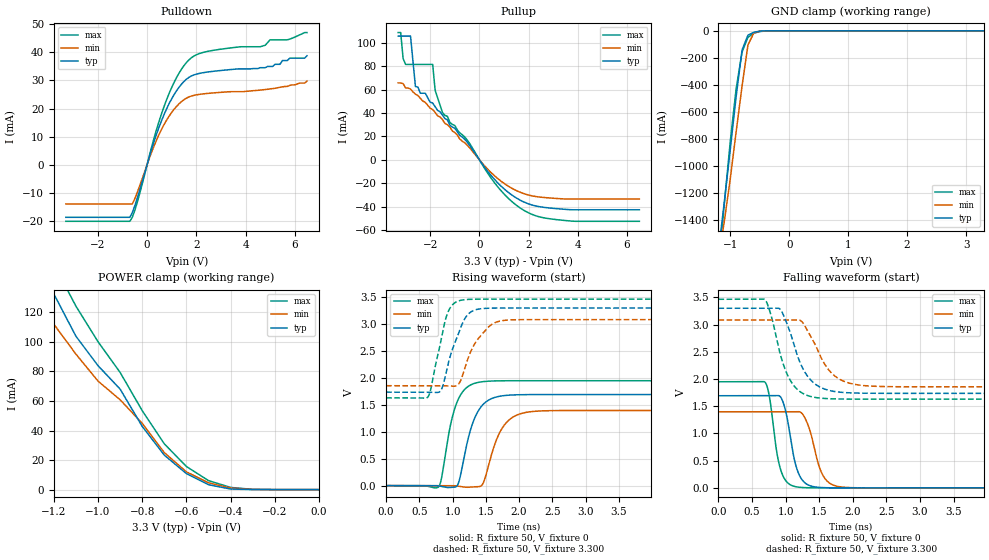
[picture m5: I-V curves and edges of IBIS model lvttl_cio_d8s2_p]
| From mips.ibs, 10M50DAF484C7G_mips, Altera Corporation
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|MODEL lvttl_cio_d8s2_p
[Model]   lvttl_cio_d8s2_p
Model_type   I/O
Polarity   Non-Inverting
Enable Active-Low
Vinl   = 0.800
Vinh   = 1.700
Vmeas  = 1.650
Rref   = 10M
Cref   = 0pF
Vref   = 0.000
C_comp 4.5pF   4.5pF   4.5pF
[Model Spec]
Vinh   1.700   1.700   1.700
Vinl   0.800   0.800   0.800
[Temperature Range]   25   85   0
[Voltage Range]   3.300   3.085   3.465
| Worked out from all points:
|   slope of the pulldown table from 0 to 0.495 V, typ, clamps not added: 36.4 ohm
|   slope of the pullup table from 0 to 0.495 V, typ, clamps not added: 35.8 ohm
|   GND clamp passes 1 mA (typ) near -0.44 V on its own axis
|   POWER clamp passes 1 mA (typ) near -0.42 V on its own axis
|   rising waveform, R_fixture 50, V_fixture 0: 20-80 % time 227ps typ, 253ps min, 202ps max; typ from 0 V to 1.69 V
|   falling waveform, R_fixture 50, V_fixture 0: 20-80 % time 159ps typ, 190ps min, 139ps max; typ from 1.69 V to 0 V
|   rising waveform, R_fixture 50, V_fixture 3.300: 20-80 % time 245ps typ, 296ps min, 191ps max; typ from 1.74 V to 3.3 V
|   falling waveform, R_fixture 50, V_fixture 3.300: 20-80 % time 299ps typ, 342ps min, 260ps max; typ from 3.3 V to 1.74 V
[GND Clamp]
| voltage   I (typ)   I (min)   I (max)
-3.3V     -8.634A    -7.734A    -10.13A
-1.2V     -1.626A    -1.688A    -1.732A
-1.1V     -1.26A     -1.403A    -1.274A
-1V       -875.9mA   -1.092A    -816.4mA
-900mV    -483.9mA   -744.2mA   -425.4mA
-800mV    -141.1mA   -407.2mA   -157.1mA
-700mV    -32.06mA   -104.2mA   -47.74mA
-600mV    -10.6mA    -15.57mA   -17.79mA
-500mV    -2.181mA   -3.118mA   -5.472mA
-400mV    -180.7uA   -399.8uA   -1.032mA
3.3V      0A         0A         0A
[Pulldown]
| voltage   I (typ)   I (min)   I (max)
-3.3V     -18.72mA   -13.96mA   -20.14mA
-700mV    -18.72mA   -13.96mA   -20.14mA
-500mV    -14.67mA   -12.15mA   -16.29mA
300mV     8.712mA    7.036mA    9.99mA
700mV     18.07mA    14.45mA    20.96mA
1.3V      27.6mA     21.69mA    32.62mA
1.8V      31.58mA    24.45mA    38.07mA
2.7V      33.26mA    25.56mA    40.73mA
4.6V      34.54mA    26.56mA    41.99mA
5.1V      34.98mA    27.1mA     44.46mA
5.7V      37.08mA    27.86mA    44.46mA
6.5V      38.78mA    29.78mA    47.04mA
[Power Clamp]
| voltage   I (typ)   I (min)   I (max)
-3.3V     558.5mA    480.9mA    644mA
-1.4V     165.5mA    144mA      193.8mA
-1.3V     146.2mA    126.2mA    171.7mA
-1.2V     132.5mA    112mA      152.7mA
-1.1V     103.8mA    91.73mA    124.2mA
-1V       83.9mA     73.47mA    100.1mA
-900mV    68.03mA    60.8mA     79.33mA
-800mV    42.77mA    44.86mA    53.43mA
-700mV    23.32mA    25.03mA    30.96mA
-600mV    10.81mA    11.99mA    15.62mA
-400mV    388.6uA    1.05mA     1.475mA
0V        0A         0A         0A
[Pullup]
| voltage   I (typ)   I (min)   I (max)
-3.3V     105.7mA    65.72mA    108.7mA
-3.2V     105.7mA    65.72mA    108.7mA
-3.1V     105.7mA    65.06mA    86.41mA
-2.8V     105.7mA    60.49mA    81.5mA
-2.6V     62.63mA    56.01mA    81.5mA
-1.9V     48.55mA    42.99mA    81.5mA
-1.8V     45.4mA     40.59mA    59.47mA
-1.5V     38.16mA    34.34mA    40.33mA
500mV     -13.96mA   -11.38mA   -16.3mA
1.5V      -32.54mA   -26.22mA   -38.72mA
2.9V      -41.2mA    -32.62mA   -50.42mA
6.5V      -42.64mA   -33.44mA   -52.46mA
[Ramp]
dV/dt_r   1.016e+00/2.267e-10 8.379e-01/2.528e-10 1.170e+00/2.021e-10
dV/dt_f   9.382e-01/2.993e-10 7.373e-01/3.419e-10 1.101e+00/2.602e-10
R_load = 50ohms
[Rising Waveform]
R_fixture   = 50
V_fixture   = 0
V_fixture_min = 0
V_fixture_max = 0
| time   V (typ)   V (min)   V (max)
0s        167.1nV    1.89uV     321.1nV
791.1ps   -5.395mV   44.89uV    -20.54mV
970ps     -32.98mV   562.2uV    1.139V
1.059ns   -13.43mV   -5.291mV   1.53V
1.259ns   994.2mV    -28.15mV   1.863V
1.376ns   1.368V     -20.23mV   1.916V
1.465ns   1.517V     63.31mV    1.933V
1.747ns   1.668V     1.072V     1.948V
2.084ns   1.69V      1.356V     1.949V
6.873ns   1.693V     1.397V     1.949V
[Falling Waveform]
R_fixture   = 50
V_fixture   = 0
V_fixture_min = 0
V_fixture_max = 0
| time   V (typ)   V (min)   V (max)
0s        1.693V     1.397V     1.949V
697.1ps   1.693V     1.397V     1.935V
758.6ps   1.693V     1.397V     1.674V
867.9ps   1.695V     1.397V     656.5mV
949.9ps   1.612V     1.397V     248.7mV
1.134ns   496.1mV    1.398V     25.55mV
1.312ns   69.4mV     1.219V     2.868mV
1.538ns   5.527mV    271.6mV    172.4uV
1.784ns   337.6uV    24.24mV    8.088uV
6.827ns   557.2nV    2.189uV    1.256uV
[Rising Waveform]
R_fixture   = 50
V_fixture   = 3.300
V_fixture_min   = 3.085
V_fixture_max   = 3.465
| time   V (typ)   V (min)   V (max)
0s        1.736V     1.856V     1.63V
632.9ps   1.735V     1.856V     1.655V
818.7ps   1.762V     1.855V     2.664V
915ps     2.172V     1.853V     3.175V
1.128ns   2.958V     1.975V     3.445V
1.231ns   3.182V     2.364V     3.459V
1.362ns   3.273V     2.693V     3.464V
1.568ns   3.297V     2.978V     3.465V
1.747ns   3.3V       3.065V     3.465V
6.873ns   3.3V       3.085V     3.465V
[Falling Waveform]
R_fixture   = 50
V_fixture   = 3.300
V_fixture_min   = 3.085
V_fixture_max   = 3.465
| time   V (typ)   V (min)   V (max)
0s        3.3V       3.085V     3.465V
697.1ps   3.3V       3.085V     3.452V
792.7ps   3.3V       3.085V     3.126V
908.9ps   3.292V     3.085V     2.508V
1.032ns   2.976V     3.085V     2.062V
1.23ns    2.259V     3.067V     1.754V
1.387ns   1.963V     2.755V     1.674V
1.688ns   1.779V     2.104V     1.636V
2.098ns   1.74V      1.888V     1.63V
6.827ns   1.736V     1.856V     1.63V
